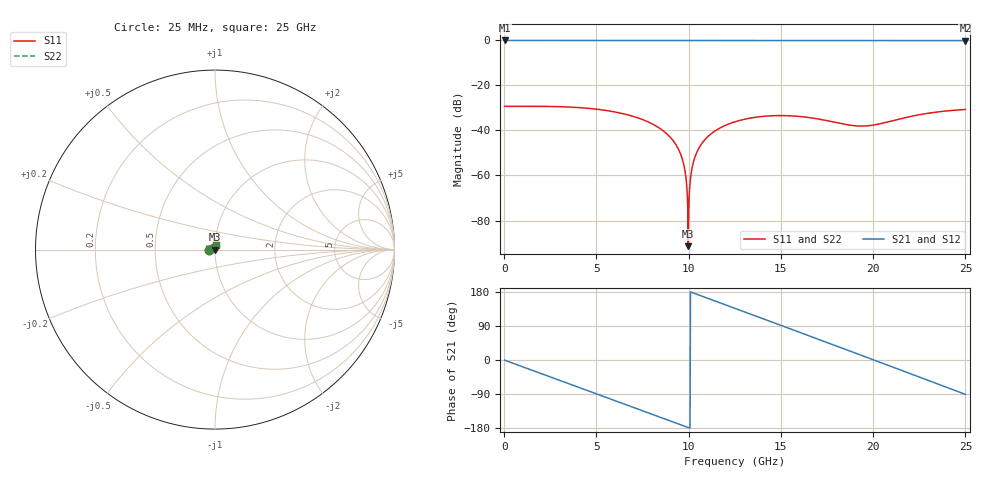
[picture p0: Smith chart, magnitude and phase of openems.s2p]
! thru_R_s4_L4: 2×thru, L4, 8 mm
! stackup: 4-layer 1.6 mm FR-4
! ports: 1, 2
! openEMS 0.37.0, staircase, fine mesh (dfine 0.035 mm), 229500 cells
# Hz S RI R 50
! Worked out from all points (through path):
!   1000 points, 25 MHz to 25 GHz, reference 50 ohm
!   highest |S21| = -0.30 dB at 25 MHz (marker M1); lowest = -0.4 dB at 25 GHz (marker M2)
!   group delay of S21, straight-line fit = 50 ps
!   lowest |S11| = -91.3 dB at 9.975 GHz (marker M3), VSWR 1.00, Z = 50 + j0.00109 ohm
!   |S11| at or under -10 dB: start of sweep to end of sweep
!   |S22| runs from -91.3 to -29.4 dB; largest |S21 - S12| = 0
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2.5e7  -0.0337 0.00015  0.9661 -0.00752  0.9661 -0.00752  -0.0337 0.00015
1.95e9  -0.0314 0.0121  0.7936 -0.5508  0.7936 -0.5508  -0.0314 0.0121
4.2e9  -0.0199 0.0242  0.2518 -0.9325  0.2518 -0.9325  -0.0199 0.0242
6.2e9  -0.0035 0.0241  -0.3397 -0.9039  -0.3397 -0.9039  -0.0035 0.0241
8.35e9  0.00576 0.01  -0.8277 -0.4964  -0.8277 -0.4964  0.00576 0.01
9.025e9  0.00462 0.00502  -0.9131 -0.312  -0.9131 -0.312  0.00462 0.00502
9.475e9  0.00281 0.00225  -0.9478 -0.1809  -0.9478 -0.1809  0.00281 0.00225
9.725e9  0.0015 0.001  -0.9589 -0.1063  -0.9589 -0.1063  0.0015 0.001
9.9e9  0.000483 0.000281  -0.9633 -0.0536  -0.9633 -0.0536  0.000483 0.000281
9.975e9  2.49e-05 1.09e-05  -0.9643 -0.031  -0.9643 -0.031  2.49e-05 1.09e-05
1.0075e10  -0.000604 -0.00031  -0.9647 -0.000837  -0.9647 -0.000837  -0.000604 -0.00031
1.0175e10  -0.00125 -0.000585  -0.9643 0.0294  -0.9643 0.0294  -0.00125 -0.000585
1.0275e10  -0.00191 -0.000813  -0.9628 0.0595  -0.9628 0.0595  -0.00191 -0.000813
1.0675e10  -0.00465 -0.00124  -0.9478 0.1793  -0.9478 0.1793  -0.00465 -0.00124
1.1425e10  -0.00959 8.35e-05  -0.8798 0.395  -0.8798 0.395  -0.00959 8.35e-05
1.2525e10  -0.0141 0.00626  -0.6942 0.6692  -0.6942 0.6692  -0.0141 0.00626
1.4625e10  -0.00638 0.02  -0.1376 0.9539  -0.1376 0.9539  -0.00638 0.02
1.6675e10  0.0115 0.0147  0.465 0.8434  0.465 0.8434  0.0115 0.0147
1.885e10  0.0105 -0.0072  0.8942 0.355  0.8942 0.355  0.0105 -0.0072
2.085e10  -0.0111 -0.0108  0.9292 -0.245  0.9292 -0.245  -0.0111 -0.0108
2.31e10  -0.0188 0.0151  0.5383 -0.7948  0.5383 -0.7948  -0.0188 0.0151
2.5e10  0.00549 0.0282  -0.0129 -0.9592  -0.0129 -0.9592  0.00549 0.0282
